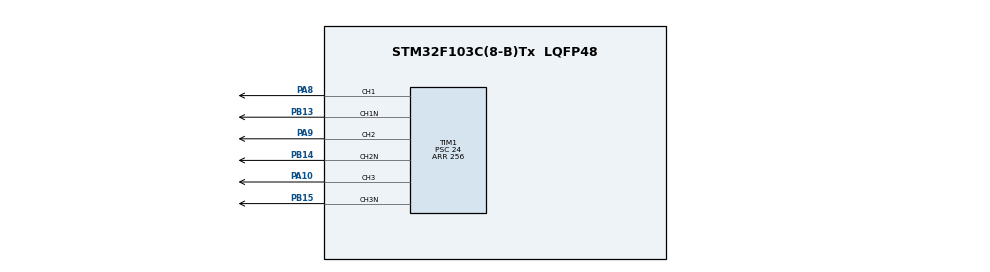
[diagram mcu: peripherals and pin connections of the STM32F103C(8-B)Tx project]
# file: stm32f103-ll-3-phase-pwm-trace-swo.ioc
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Mcu.Family=STM32F1
RCC.PLLSourceVirtual=RCC_PLLSOURCE_HSE
PD1-OSC_OUT.Mode=HSE-External-Oscillator
TIM1.Channel-PWM\ Generation1\ CH1\ CH1N=TIM_CHANNEL_1
PD0-OSC_IN.Signal=RCC_OSC_IN
RCC.APB1CLKDivider=RCC_HCLK_DIV2
PB13.Signal=TIM1_CH1N
PB15.Signal=TIM1_CH3N
RCC.SYSCLKSource=RCC_SYSCLKSOURCE_PLLCLK
ProjectManager.StackSize=0x400
PD1-OSC_OUT.Signal=RCC_OSC_OUT
PA13.Signal=SYS_JTMS-SWDIO
TIM1.Channel-PWM\ Generation2\ CH2\ CH2N=TIM_CHANNEL_2
TIM1.Prescaler=24
SH.S_TIM1_CH1.0=TIM1_CH1,PWM Generation1 CH1 CH1N
ProjectManager.TargetToolchain=Makefile
RCC.HCLKFreq_Value=72000000
RCC.APB2TimFreq_Value=72000000
PA9.Signal=S_TIM1_CH2
TIM1.AutomaticOutput=TIM_AUTOMATICOUTPUT_ENABLE
TIM1.Channel-PWM\ Generation3\ CH3\ CH3N=TIM_CHANNEL_3
RCC.USBFreq_Value=72000000
RCC.AHBFreq_Value=72000000
PD0-OSC_IN.Mode=HSE-External-Oscillator
PB14.Signal=TIM1_CH2N
PB3.Mode=Trace_Asynchronous_SW
board=stm32f103-ll-3-phase-pwm-trace-swo
RCC.PLLMUL=RCC_PLL_MUL9
PB15.Mode=PWM Generation3 CH3 CH3N
RCC.APB2Freq_Value=72000000
SH.S_TIM1_CH2.0=TIM1_CH2,PWM Generation2 CH2 CH2N
PA14.Mode=Trace_Asynchronous_SW
PB14.Mode=PWM Generation2 CH2 CH2N
TIM1.DeadTime=16
PA8.Signal=S_TIM1_CH1
PA13.Mode=Trace_Asynchronous_SW
Mcu.Name=STM32F103C(8-B)Tx
VP_TIM1_VS_ClockSourceINT.Mode=Internal
PB3.Signal=SYS_JTDO-TRACESWO
RCC.SYSCLKFreq_VALUE=72000000
Mcu.Package=LQFP48
PA10.Signal=S_TIM1_CH3
PA14.Signal=SYS_JTCK-SWCLK
ProjectManager.HeapSize=0x200
SH.S_TIM1_CH3.0=TIM1_CH3,PWM Generation3 CH3 CH3N
NVIC.PriorityGroup=NVIC_PRIORITYGROUP_4
RCC.APB1TimFreq_Value=72000000
TIM1.Period=256
PB13.Mode=PWM Generation1 CH1 CH1N
RCC.APB1Freq_Value=36000000

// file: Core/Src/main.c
/* USER CODE BEGIN Header */
/**
  ******************************************************************************
  * @file           : main.c
  * @brief          : Main program body
  ******************************************************************************
  * @attention
  *
  * <h2><center>&copy; Copyright (c) 2020 STMicroelectronics.
  * All rights reserved.</center></h2>
  *
  * This software component is licensed by ST under BSD 3-Clause license,
  * the "License"; You may not use this file except in compliance with the
  * License. You may obtain a copy of the License at:
  *                        opensource.org/licenses/BSD-3-Clause
  *
  ******************************************************************************
  */
/* USER CODE END Header */
#include "main.h"
#include "tim.h"
#include "gpio.h"

void SystemClock_Config(void);
/* USER CODE BEGIN PFP */
#include "spindle.h"
// #include "printf.h"
/* USER CODE END PFP */

/* USER CODE BEGIN 0 */
extern void initialise_monitor_handles(void);
/* USER CODE END 0 */

int main(void)
{
  /* USER CODE BEGIN 1 */
#ifdef SEMIHOSTING_ENABLE
  initialise_monitor_handles();
#endif
  /* USER CODE END 1 */

  /* MCU Configuration--------------------------------------------------------*/

  /* Reset of all peripherals, Initializes the Flash interface and the Systick. */

  LL_APB2_GRP1_EnableClock(LL_APB2_GRP1_PERIPH_AFIO);
  LL_APB1_GRP1_EnableClock(LL_APB1_GRP1_PERIPH_PWR);

  NVIC_SetPriorityGrouping(NVIC_PRIORITYGROUP_4);

  /* System interrupt init*/

  /** NOJTAG: JTAG-DP Disabled and SW-DP Enabled
  */
  LL_GPIO_AF_Remap_SWJ_NOJTAG();

  /* Configure the system clock */
  SystemClock_Config();

  /* Initialize all configured peripherals */
  MX_GPIO_Init();
  MX_TIM1_Init();
  /* USER CODE BEGIN 2 */
  timer_pwm_init();

  /* USER CODE END 2 */

  /* Infinite loop */
  /* USER CODE BEGIN WHILE */
#ifdef SEMIHOSTING_ENABLE
  printf("\nhello printf\n");
  puts("hello puts");
  LL_mDelay(100);
  printf("hello printf\n");
  printf("hello world!\n");
  LL_mDelay(100);
#endif

  while (1)
  {
    spin();
    /* USER CODE END WHILE */

  }
}

void SystemClock_Config(void)
{
  LL_FLASH_SetLatency(LL_FLASH_LATENCY_2);
  while(LL_FLASH_GetLatency()!= LL_FLASH_LATENCY_2)
  {
  }
  LL_RCC_HSE_Enable();

   /* Wait till HSE is ready */
  while(LL_RCC_HSE_IsReady() != 1)
  {

  }
  LL_RCC_PLL_ConfigDomain_SYS(LL_RCC_PLLSOURCE_HSE_DIV_1, LL_RCC_PLL_MUL_9);
  LL_RCC_PLL_Enable();

   /* Wait till PLL is ready */
  while(LL_RCC_PLL_IsReady() != 1)
  {

  }
  LL_RCC_SetAHBPrescaler(LL_RCC_SYSCLK_DIV_1);
  LL_RCC_SetAPB1Prescaler(LL_RCC_APB1_DIV_2);
  LL_RCC_SetAPB2Prescaler(LL_RCC_APB2_DIV_1);
  LL_RCC_SetSysClkSource(LL_RCC_SYS_CLKSOURCE_PLL);

   /* Wait till System clock is ready */
  while(LL_RCC_GetSysClkSource() != LL_RCC_SYS_CLKSOURCE_STATUS_PLL)
  {

  }
  LL_Init1msTick(72000000);
  LL_SetSystemCoreClock(72000000);
}

void Error_Handler(void)
{
}

/************************ (C) COPYRIGHT STMicroelectronics *****END OF FILE****/
